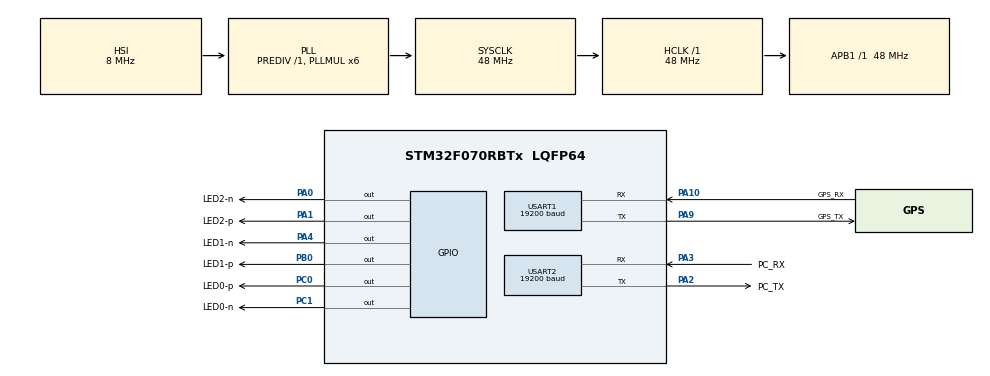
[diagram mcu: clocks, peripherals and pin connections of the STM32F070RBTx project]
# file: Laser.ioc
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FREERTOS.Tasks01=defaultTask,0,128,StartDefaultTask
Mcu.Family=STM32F0
Mcu.Name=STM32F070RBTx
Mcu.Package=LQFP64
PA0.GPIO_Label=LED2-n
PA0.Signal=GPIO_Output
PA1.GPIO_Label=LED2-p
PA1.Signal=GPIO_Output
PA10.GPIO_Label=GPS_RX
PA10.Mode=Asynchronous
PA10.Signal=USART1_RX
PA2.GPIO_Label=PC_TX
PA2.Mode=Asynchronous
PA2.Signal=USART2_TX
PA3.GPIO_Label=PC_RX
PA3.Mode=Asynchronous
PA3.Signal=USART2_RX
PA4.GPIO_Label=LED1-n
PA4.Signal=GPIO_Output
PA9.GPIO_Label=GPS_TX
PA9.Mode=Asynchronous
PA9.Signal=USART1_TX
PB0.GPIO_Label=LED1-p
PB0.Signal=GPIO_Output
PC0.GPIO_Label=LED0-p
PC0.Signal=GPIO_Output
PC1.GPIO_Label=LED0-n
PC1.Signal=GPIO_Output
ProjectManager.TargetToolchain=SW4STM32
RCC.AHBFreq_Value=48000000
RCC.APB1Freq_Value=48000000
RCC.APB1TimFreq_Value=48000000
RCC.HCLKFreq_Value=48000000
RCC.PLLMUL=RCC_PLL_MUL6
RCC.SYSCLKFreq_VALUE=48000000
RCC.SYSCLKSource=RCC_SYSCLKSOURCE_PLLCLK
USART1.BaudRate=19200
USART1.WordLength=UART_WORDLENGTH_8B
USART2.BaudRate=19200
USART2.WordLength=UART_WORDLENGTH_8B
VP_FREERTOS_VS_ENABLE.Mode=Enabled
board=NUCLEO-F070RB

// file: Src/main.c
/**
  ******************************************************************************
  * File Name          : main.c
  * Description        : Main program body
  ******************************************************************************
  *
  * COPYRIGHT(c) 2016 STMicroelectronics
  *
  * Redistribution and use in source and binary forms, with or without modification,
  * are permitted provided that the following conditions are met:
  *   1. Redistributions of source code must retain the above copyright notice,
  *      this list of conditions and the following disclaimer.
  *   2. Redistributions in binary form must reproduce the above copyright notice,
  *      this list of conditions and the following disclaimer in the documentation
  *      and/or other materials provided with the distribution.
  *   3. Neither the name of STMicroelectronics nor the names of its contributors
  *      may be used to endorse or promote products derived from this software
  *      without specific prior written permission.
  *
  * THIS SOFTWARE IS PROVIDED BY THE COPYRIGHT HOLDERS AND CONTRIBUTORS "AS IS"
  * AND ANY EXPRESS OR IMPLIED WARRANTIES, INCLUDING, BUT NOT LIMITED TO, THE
  * IMPLIED WARRANTIES OF MERCHANTABILITY AND FITNESS FOR A PARTICULAR PURPOSE ARE
  * DISCLAIMED. IN NO EVENT SHALL THE COPYRIGHT HOLDER OR CONTRIBUTORS BE LIABLE
  * FOR ANY DIRECT, INDIRECT, INCIDENTAL, SPECIAL, EXEMPLARY, OR CONSEQUENTIAL
  * DAMAGES (INCLUDING, BUT NOT LIMITED TO, PROCUREMENT OF SUBSTITUTE GOODS OR
  * SERVICES; LOSS OF USE, DATA, OR PROFITS; OR BUSINESS INTERRUPTION) HOWEVER
  * CAUSED AND ON ANY THEORY OF LIABILITY, WHETHER IN CONTRACT, STRICT LIABILITY,
  * OR TORT (INCLUDING NEGLIGENCE OR OTHERWISE) ARISING IN ANY WAY OUT OF THE USE
  * OF THIS SOFTWARE, EVEN IF ADVISED OF THE POSSIBILITY OF SUCH DAMAGE.
  *
  ******************************************************************************
  */
#include "stm32f0xx_hal.h"
#include "cmsis_os.h"

/* USER CODE BEGIN Includes */
#include <stdlib.h>
/* USER CODE END Includes */

UART_HandleTypeDef huart1;
UART_HandleTypeDef huart2;

osThreadId defaultTaskHandle;

/* USER CODE BEGIN PV */
/* Private variables ---------------------------------------------------------*/

/* USER CODE END PV */

void SystemClock_Config(void);
static void MX_GPIO_Init(void);
static void MX_USART1_UART_Init(void);
static void MX_USART2_UART_Init(void);
void StartDefaultTask(void const * argument);

/* USER CODE BEGIN PFP */
/* Private function prototypes -----------------------------------------------*/

/* USER CODE END PFP */

/* USER CODE BEGIN 0 */

static void strToUART(char * msg)
{
	HAL_UART_Transmit(&huart2, (uint8_t*)msg, strlen(msg), 0xFFFF);
}

static void laserOut_1ft()
{
	HAL_GPIO_WritePin(GPIOC, GPIO_PIN_1, GPIO_PIN_SET);	//A4
	HAL_GPIO_WritePin(GPIOA, GPIO_PIN_4, GPIO_PIN_RESET);	//A2
	HAL_GPIO_WritePin(GPIOA, GPIO_PIN_0, GPIO_PIN_RESET);	//A0
}
static void	laserOut_2ft()
{
	HAL_GPIO_WritePin(GPIOC, GPIO_PIN_1, GPIO_PIN_SET);	//A4
	HAL_GPIO_WritePin(GPIOA, GPIO_PIN_4, GPIO_PIN_SET);	//A2
	HAL_GPIO_WritePin(GPIOA, GPIO_PIN_0, GPIO_PIN_RESET);	//A0
}
static void	laserOut_3ft()
{
	HAL_GPIO_WritePin(GPIOC, GPIO_PIN_1, GPIO_PIN_SET);	//A4
	HAL_GPIO_WritePin(GPIOA, GPIO_PIN_4, GPIO_PIN_SET);	//A2
	HAL_GPIO_WritePin(GPIOA, GPIO_PIN_0, GPIO_PIN_SET);	//A0
}
static void laserOut_safe()
{
	HAL_GPIO_WritePin(GPIOC, GPIO_PIN_1, GPIO_PIN_RESET);	//A4
	HAL_GPIO_WritePin(GPIOA, GPIO_PIN_4, GPIO_PIN_RESET);	//A2
	HAL_GPIO_WritePin(GPIOA, GPIO_PIN_0, GPIO_PIN_RESET);	//A0
}

/* USER CODE END 0 */

int main(void)
{

  /* MCU Configuration----------------------------------------------------------*/

  /* Reset of all peripherals, Initializes the Flash interface and the Systick. */
  HAL_Init();

  /* Configure the system clock */
  SystemClock_Config();

  /* Initialize all configured peripherals */
  MX_GPIO_Init();
  MX_USART1_UART_Init();
  MX_USART2_UART_Init();

  /* Create the thread(s) */
  /* definition and creation of defaultTask */
  osThreadDef(defaultTask, StartDefaultTask, osPriorityNormal, 0, 128);
  defaultTaskHandle = osThreadCreate(osThread(defaultTask), NULL);

  /* Start scheduler */
  osKernelStart();

  /* We should never get here as control is now taken by the scheduler */

  /* Infinite loop */
  while (1)
  {

  }

}

/** System Clock Configuration
*/
void SystemClock_Config(void)
{

  RCC_OscInitTypeDef RCC_OscInitStruct;
  RCC_ClkInitTypeDef RCC_ClkInitStruct;
  RCC_PeriphCLKInitTypeDef PeriphClkInit;

  RCC_OscInitStruct.OscillatorType = RCC_OSCILLATORTYPE_HSI;
  RCC_OscInitStruct.HSIState = RCC_HSI_ON;
  RCC_OscInitStruct.HSICalibrationValue = 16;
  RCC_OscInitStruct.PLL.PLLState = RCC_PLL_ON;
  RCC_OscInitStruct.PLL.PLLSource = RCC_PLLSOURCE_HSI;
  RCC_OscInitStruct.PLL.PLLMUL = RCC_PLL_MUL6;
  RCC_OscInitStruct.PLL.PREDIV = RCC_PREDIV_DIV1;
  HAL_RCC_OscConfig(&RCC_OscInitStruct);

  RCC_ClkInitStruct.ClockType = RCC_CLOCKTYPE_SYSCLK;
  RCC_ClkInitStruct.SYSCLKSource = RCC_SYSCLKSOURCE_PLLCLK;
  RCC_ClkInitStruct.AHBCLKDivider = RCC_SYSCLK_DIV1;
  RCC_ClkInitStruct.APB1CLKDivider = RCC_HCLK_DIV1;
  HAL_RCC_ClockConfig(&RCC_ClkInitStruct, FLASH_LATENCY_1);

  PeriphClkInit.PeriphClockSelection = RCC_PERIPHCLK_USART1;
  PeriphClkInit.Usart1ClockSelection = RCC_USART1CLKSOURCE_PCLK1;
  HAL_RCCEx_PeriphCLKConfig(&PeriphClkInit);

  HAL_SYSTICK_Config(HAL_RCC_GetHCLKFreq()/1000);

  HAL_SYSTICK_CLKSourceConfig(SYSTICK_CLKSOURCE_HCLK);

  /* SysTick_IRQn interrupt configuration */
  HAL_NVIC_SetPriority(SysTick_IRQn, 3, 0);
}

/* USART1 init function */
void MX_USART1_UART_Init(void)
{

  huart1.Instance = USART1;
  huart1.Init.BaudRate = 19200;
  huart1.Init.WordLength = UART_WORDLENGTH_8B;
  huart1.Init.StopBits = UART_STOPBITS_1;
  huart1.Init.Parity = UART_PARITY_NONE;
  huart1.Init.Mode = UART_MODE_TX_RX;
  huart1.Init.HwFlowCtl = UART_HWCONTROL_NONE;
  huart1.Init.OverSampling = UART_OVERSAMPLING_16;
  huart1.Init.OneBitSampling = UART_ONEBIT_SAMPLING_DISABLED ;
  huart1.AdvancedInit.AdvFeatureInit = UART_ADVFEATURE_NO_INIT;
  HAL_UART_Init(&huart1);

}

/* USART2 init function */
void MX_USART2_UART_Init(void)
{

  huart2.Instance = USART2;
  huart2.Init.BaudRate = 19200;
  huart2.Init.WordLength = UART_WORDLENGTH_8B;
  huart2.Init.StopBits = UART_STOPBITS_1;
  huart2.Init.Parity = UART_PARITY_NONE;
  huart2.Init.Mode = UART_MODE_TX_RX;
  huart2.Init.HwFlowCtl = UART_HWCONTROL_NONE;
  huart2.Init.OverSampling = UART_OVERSAMPLING_16;
  huart2.Init.OneBitSampling = UART_ONEBIT_SAMPLING_DISABLED ;
  huart2.AdvancedInit.AdvFeatureInit = UART_ADVFEATURE_NO_INIT;
  HAL_UART_Init(&huart2);

}

/** Configure pins as
        * Analog
        * Input
        * Output
        * EVENT_OUT
        * EXTI
*/
void MX_GPIO_Init(void)
{

  GPIO_InitTypeDef GPIO_InitStruct;

  /* GPIO Ports Clock Enable */
  __GPIOC_CLK_ENABLE();
  __GPIOA_CLK_ENABLE();
  __GPIOB_CLK_ENABLE();

  /*Configure GPIO pins : LED0_p_Pin LED0_n_Pin */
  GPIO_InitStruct.Pin = LED0_p_Pin|LED0_n_Pin;
  GPIO_InitStruct.Mode = GPIO_MODE_OUTPUT_PP;
  GPIO_InitStruct.Pull = GPIO_NOPULL;
  GPIO_InitStruct.Speed = GPIO_SPEED_LOW;
  HAL_GPIO_Init(GPIOC, &GPIO_InitStruct);

  /*Configure GPIO pins : LED2_n_Pin LED2_p_Pin LED1_n_Pin */
  GPIO_InitStruct.Pin = LED2_n_Pin|LED2_p_Pin|LED1_n_Pin;
  GPIO_InitStruct.Mode = GPIO_MODE_OUTPUT_PP;
  GPIO_InitStruct.Pull = GPIO_NOPULL;
  GPIO_InitStruct.Speed = GPIO_SPEED_LOW;
  HAL_GPIO_Init(GPIOA, &GPIO_InitStruct);

  /*Configure GPIO pin : LED1_p_Pin */
  GPIO_InitStruct.Pin = LED1_p_Pin;
  GPIO_InitStruct.Mode = GPIO_MODE_OUTPUT_PP;
  GPIO_InitStruct.Pull = GPIO_NOPULL;
  GPIO_InitStruct.Speed = GPIO_SPEED_LOW;
  HAL_GPIO_Init(LED1_p_GPIO_Port, &GPIO_InitStruct);

}

/* StartDefaultTask function */
void StartDefaultTask(void const * argument)
{

  /* USER CODE BEGIN 5 */
	uint8_t in[6];
	in[0] = '0';
	uint8_t * nl = "\n\r";
	uint8_t inSize;
	HAL_StatusTypeDef status;
	double distance = 0; //(debug) was volatile

	// LEDs
	HAL_GPIO_WritePin(GPIOC, GPIO_PIN_0, GPIO_PIN_RESET);
	HAL_GPIO_WritePin(GPIOB, GPIO_PIN_0, GPIO_PIN_RESET);
	HAL_GPIO_WritePin(GPIOA, GPIO_PIN_1, GPIO_PIN_RESET);

  /* Infinite loop */
	for(;;)
	{
		if(HAL_UART_Transmit(&huart1, &in[0], 1, 1000) == HAL_OK)// send request
		{
			// Receive
			for (inSize = 0; inSize < 7; inSize++)	// max = 25.00\n\r
			{
				HAL_UART_Receive(&huart1, &in[inSize], 1, 0xFFFF);
				if(in[inSize] == '\n')	break;
			}
	  	// Send result to PC (opt)
	  	HAL_UART_Transmit(&huart2, (uint8_t *)in, inSize-1, 0x1000);
	  	strToUART(nl);	// makes debugging prettier

	  	distance = atof(in);
		}
		// Process result
		if(distance < 0.3048)			laserOut_1ft();
		else if(distance < 0.6096)	laserOut_2ft();
		else if(distance < 0.9144)	laserOut_3ft();
		else							laserOut_safe();
		// delay before checking again to save precious battery life
		osDelay(150);
  }
  /* USER CODE END 5 */
}

/************************ (C) COPYRIGHT STMicroelectronics *****END OF FILE****/
